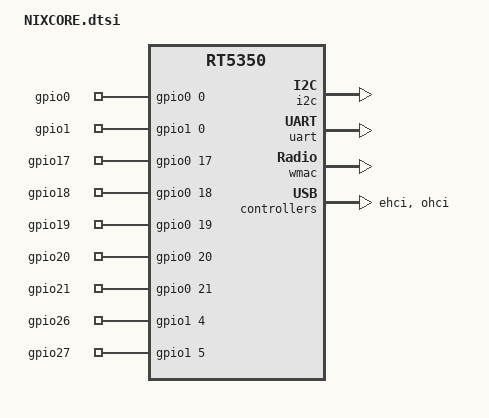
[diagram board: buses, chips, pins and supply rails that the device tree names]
#include "rt5350.dtsi"

#include <dt-bindings/gpio/gpio.h>

/ {
	compatible = "nixcore,x1", "ralink,rt5350-soc";

	chosen {
		bootargs = "console=ttyS1,57600";
	};

	gpio-export {
		compatible = "gpio-export";
		#size-cells = <0>;

		gpio0 {
			gpio-export,name = "gpio0";
			gpio-export,direction_may_change = <1>;
			gpios = <&gpio0 0 GPIO_ACTIVE_HIGH>;
		};

		gpio1 {
			gpio-export,name = "gpio1";
			gpio-export,direction_may_change = <1>;
			gpios = <&gpio1 0 GPIO_ACTIVE_HIGH>;
		};

		/* GPIOs 1-6 are I2C,SPI */
		/* GPIO 7-14 are uart1 */
		/* GPIOs 15 & 16 are uart2 */
		/* JTAG */

		gpio17 {
			/* JTAG_TDO */
			gpio-export,name = "gpio17";
			gpio-export,direction_may_change = <1>;
			gpios = <&gpio0 17 GPIO_ACTIVE_HIGH>;
		};

		gpio18 {
			/* JTAG_TDI */
			gpio-export,name = "gpio18";
			gpio-export,direction_may_change = <1>;
			gpios = <&gpio0 18 GPIO_ACTIVE_HIGH>;
		};

		gpio19 {
			/* JTAG_TMS */
			gpio-export,name = "gpio19";
			gpio-export,direction_may_change = <1>;
			gpios = <&gpio0 19 GPIO_ACTIVE_HIGH>;
		};

		gpio20 {
			/* JTAG_TCLK */
			gpio-export,name = "gpio20";
			gpio-export,direction_may_change = <1>;
			gpios = <&gpio0 20 GPIO_ACTIVE_HIGH>;
		};

		gpio21 {
			/* JTAG_TRST_N */
			gpio-export,name = "gpio21";
			gpio-export,direction_may_change = <1>;
			gpios = <&gpio0 21 GPIO_ACTIVE_HIGH>;
		};

		/* ETH LEDs */
		/*
		gpio22 {
			gpio-export,name = "gpio22";
			gpio-export,direction_may_change = <1>;
			gpios = <&gpio1 0 GPIO_ACTIVE_HIGH>;
		};

		gpio23 {
			gpio-export,name = "gpio23";
			gpio-export,direction_may_change = <1>;
			gpios = <&gpio1 1 GPIO_ACTIVE_HIGH>;
		};

		gpio24 {
			gpio-export,name = "gpio24";
			gpio-export,direction_may_change = <1>;
			gpios = <&gpio1 2 GPIO_ACTIVE_HIGH>;
		};

		gpio25 {
			gpio-export,name = "gpio25";
			gpio-export,direction_may_change = <1>;
			gpios = <&gpio1 3 GPIO_ACTIVE_HIGH>;
		};

		*/
		gpio26 {
			/* ETH4_LED */
			gpio-export,name = "gpio26";
			gpio-export,direction_may_change = <1>;
			gpios = <&gpio1 4 GPIO_ACTIVE_HIGH>;
		};

		gpio27 {
			/* spi_cs1 */
			gpio-export,name = "gpio27";
			gpio-export,direction_may_change = <1>;
			gpios = <&gpio1 5 GPIO_ACTIVE_HIGH>;
		};
	};
};

&gpio0 {
    status = "okay";
};

&gpio1 {
    status = "okay";
};

&i2c {
    status = "okay";
};

&uart {
    status = "okay";
    reset-names = "gpio uartf";
};

&pinctrl {
	state_default: pinctrl0 {
		gpio {
			ralink,group = "jtag", "led", "spi_cs1";
			ralink,function = "gpio";
		};
	};
};

&ethernet {
	mtd-mac-address = <&factory 0x4>;
};

&esw {
	mediatek,portmap = <0x17>;
};

&wmac {
	ralink,mtd-eeprom = <&factory 0>;
};

&ehci {
	status = "okay";
};

&ohci {
	status = "okay";
};
